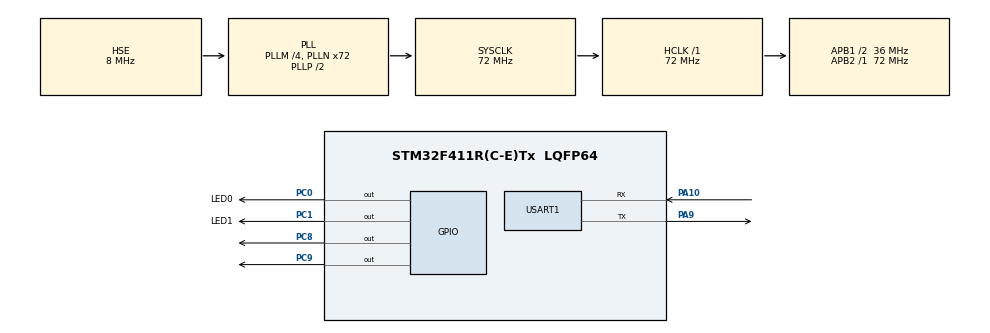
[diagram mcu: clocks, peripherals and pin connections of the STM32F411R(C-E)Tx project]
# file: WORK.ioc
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Mcu.Family=STM32F4
Mcu.Name=STM32F411R(C-E)Tx
Mcu.Package=LQFP64
NVIC.PriorityGroup=NVIC_PRIORITYGROUP_4
NVIC.USART1_IRQn=true\:0\:0\:false\:false\:true\:true\:true\:true
PA10.Mode=Asynchronous
PA10.Signal=USART1_RX
PA9.Mode=Asynchronous
PA9.Signal=USART1_TX
PC0.GPIO_Label=LED0
PC0.GPIO_PuPd=GPIO_PULLUP
PC0.GPIO_Speed=GPIO_SPEED_FREQ_HIGH
PC0.PinState=GPIO_PIN_SET
PC0.Signal=GPIO_Output
PC1.GPIO_Label=LED1
PC1.GPIO_PuPd=GPIO_PULLUP
PC1.GPIO_Speed=GPIO_SPEED_FREQ_HIGH
PC1.PinState=GPIO_PIN_SET
PC1.Signal=GPIO_Output
PC14-OSC32_IN.Mode=LSE-External-Oscillator
PC14-OSC32_IN.Signal=RCC_OSC32_IN
PC15-OSC32_OUT.Mode=LSE-External-Oscillator
PC15-OSC32_OUT.Signal=RCC_OSC32_OUT
PC8.GPIO_Speed=GPIO_SPEED_FREQ_HIGH
PC8.PinState=GPIO_PIN_SET
PC8.Signal=GPIO_Output
PC9.GPIO_Speed=GPIO_SPEED_FREQ_HIGH
PC9.PinState=GPIO_PIN_SET
PC9.Signal=GPIO_Output
PH0\ -\ OSC_IN.Mode=HSE-External-Oscillator
PH0\ -\ OSC_IN.Signal=RCC_OSC_IN
PH1\ -\ OSC_OUT.Mode=HSE-External-Oscillator
PH1\ -\ OSC_OUT.Signal=RCC_OSC_OUT
ProjectManager.HeapSize=0x200
ProjectManager.StackSize=0x400
ProjectManager.TargetToolchain=MDK-ARM V5
RCC.48MHZClocksFreq_Value=36000000
RCC.AHBFreq_Value=72000000
RCC.APB1CLKDivider=RCC_HCLK_DIV2
RCC.APB1Freq_Value=36000000
RCC.APB1TimFreq_Value=72000000
RCC.APB2Freq_Value=72000000
RCC.APB2TimFreq_Value=72000000
RCC.CortexFreq_Value=72000000
RCC.HCLKFreq_Value=72000000
RCC.HSE_VALUE=8000000
RCC.HSI_VALUE=16000000
RCC.PLLM=4
RCC.PLLN=72
RCC.PLLSourceVirtual=RCC_PLLSOURCE_HSE
RCC.SYSCLKFreq_VALUE=72000000
RCC.SYSCLKSource=RCC_SYSCLKSOURCE_PLLCLK
RCC.VCOOutputFreq_Value=144000000
USART1.VirtualMode=VM_ASYNC
board=custom

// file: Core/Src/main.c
/* USER CODE BEGIN Header */
/**
  ******************************************************************************
  * @file           : main.c
  * @brief          : Main program body
  ******************************************************************************
  * @attention
  *
  * Copyright (c) 2023 STMicroelectronics.
  * All rights reserved.
  *
  * This software is licensed under terms that can be found in the LICENSE file
  * in the root directory of this software component.
  * If no LICENSE file comes with this software, it is provided AS-IS.
  *
  ******************************************************************************
  */
/* USER CODE END Header */
#include "main.h"

/* USER CODE BEGIN Includes */
#include <led.h>
#include <usart.h>
#include <mpu.h>
/* USER CODE END Includes */

/* USER CODE BEGIN PD */
uint8_t ID;
int16_t AX, AY, AZ, GX, GY, GZ;
uint8_t rx_data[2];
/* USER CODE END PD */

UART_HandleTypeDef huart1;

void SystemClock_Config(void);
static void MX_GPIO_Init(void);
static void MX_USART1_UART_Init(void);

/* USER CODE BEGIN 0 */
   //HAL_UART_Receive_IT(&huart1,rx_data, 2);
/* USER CODE END 0 */

int main(void)
{

  /* MCU Configuration--------------------------------------------------------*/

  /* Reset of all peripherals, Initializes the Flash interface and the Systick. */
  HAL_Init();

  /* Configure the system clock */
  SystemClock_Config();

  /* Initialize all configured peripherals */
  MX_GPIO_Init();
  MX_USART1_UART_Init();
  /* USER CODE BEGIN 2 */
	//printf("stm32 is ok\n");
	MPU6050_Init();
	ID = MPU6050_GetID();

  HAL_UART_Receive_IT(&huart1,rx_data, 2);
	LED1_ON();
	printf("stm32 is ok\n");
  /* USER CODE END 2 */

  /* Infinite loop */
  while (1)
  {

    /* USER CODE BEGIN 3 */
		MPU6050_GetData(&AX, &AY, &AZ, &GX, &GY, &GZ);
		printf("AX: %5d\n",AX);
		printf("AY: %5d\n",AY);
		printf("AZ: %5d\n",AZ);
		printf("GX: %5d\n",GX);
		printf("GY: %5d\n",GY);
		printf("GZ: %5d\n",GZ);
		//HAL_Delay(1000);
  }
  /* USER CODE END 3 */
}

void SystemClock_Config(void)
{
  RCC_OscInitTypeDef RCC_OscInitStruct = {0};
  RCC_ClkInitTypeDef RCC_ClkInitStruct = {0};

  /** Configure the main internal regulator output voltage
  */
  __HAL_RCC_PWR_CLK_ENABLE();
  __HAL_PWR_VOLTAGESCALING_CONFIG(PWR_REGULATOR_VOLTAGE_SCALE1);

  /** Initializes the RCC Oscillators according to the specified parameters
  * in the RCC_OscInitTypeDef structure.
  */
  RCC_OscInitStruct.OscillatorType = RCC_OSCILLATORTYPE_HSE;
  RCC_OscInitStruct.HSEState = RCC_HSE_ON;
  RCC_OscInitStruct.PLL.PLLState = RCC_PLL_ON;
  RCC_OscInitStruct.PLL.PLLSource = RCC_PLLSOURCE_HSE;
  RCC_OscInitStruct.PLL.PLLM = 4;
  RCC_OscInitStruct.PLL.PLLN = 72;
  RCC_OscInitStruct.PLL.PLLP = RCC_PLLP_DIV2;
  RCC_OscInitStruct.PLL.PLLQ = 4;
  if (HAL_RCC_OscConfig(&RCC_OscInitStruct) != HAL_OK)
  {
    Error_Handler();
  }

  /** Initializes the CPU, AHB and APB buses clocks
  */
  RCC_ClkInitStruct.ClockType = RCC_CLOCKTYPE_HCLK|RCC_CLOCKTYPE_SYSCLK
                              |RCC_CLOCKTYPE_PCLK1|RCC_CLOCKTYPE_PCLK2;
  RCC_ClkInitStruct.SYSCLKSource = RCC_SYSCLKSOURCE_PLLCLK;
  RCC_ClkInitStruct.AHBCLKDivider = RCC_SYSCLK_DIV1;
  RCC_ClkInitStruct.APB1CLKDivider = RCC_HCLK_DIV2;
  RCC_ClkInitStruct.APB2CLKDivider = RCC_HCLK_DIV1;

  if (HAL_RCC_ClockConfig(&RCC_ClkInitStruct, FLASH_LATENCY_2) != HAL_OK)
  {
    Error_Handler();
  }
}

static void MX_USART1_UART_Init(void)
{

  huart1.Instance = USART1;
  huart1.Init.BaudRate = 115200;
  huart1.Init.WordLength = UART_WORDLENGTH_8B;
  huart1.Init.StopBits = UART_STOPBITS_1;
  huart1.Init.Parity = UART_PARITY_NONE;
  huart1.Init.Mode = UART_MODE_TX_RX;
  huart1.Init.HwFlowCtl = UART_HWCONTROL_NONE;
  huart1.Init.OverSampling = UART_OVERSAMPLING_16;
  if (HAL_UART_Init(&huart1) != HAL_OK)
  {
    Error_Handler();
  }

}

static void MX_GPIO_Init(void)
{
  GPIO_InitTypeDef GPIO_InitStruct = {0};

  /* GPIO Ports Clock Enable */
  __HAL_RCC_GPIOC_CLK_ENABLE();
  __HAL_RCC_GPIOH_CLK_ENABLE();
  __HAL_RCC_GPIOA_CLK_ENABLE();

  /*Configure GPIO pin Output Level */
  HAL_GPIO_WritePin(GPIOC, LED0_Pin|LED1_Pin|GPIO_PIN_8|GPIO_PIN_9, GPIO_PIN_SET);

  /*Configure GPIO pins : LED0_Pin LED1_Pin */
  GPIO_InitStruct.Pin = LED0_Pin|LED1_Pin;
  GPIO_InitStruct.Mode = GPIO_MODE_OUTPUT_PP;
  GPIO_InitStruct.Pull = GPIO_PULLUP;
  GPIO_InitStruct.Speed = GPIO_SPEED_FREQ_HIGH;
  HAL_GPIO_Init(GPIOC, &GPIO_InitStruct);

  /*Configure GPIO pins : PC8 PC9 */
  GPIO_InitStruct.Pin = GPIO_PIN_8|GPIO_PIN_9;
  GPIO_InitStruct.Mode = GPIO_MODE_OUTPUT_PP;
  GPIO_InitStruct.Pull = GPIO_NOPULL;
  GPIO_InitStruct.Speed = GPIO_SPEED_FREQ_HIGH;
  HAL_GPIO_Init(GPIOC, &GPIO_InitStruct);

}

void Error_Handler(void)
{
  __disable_irq();
  while (1)
  {
  }
}
